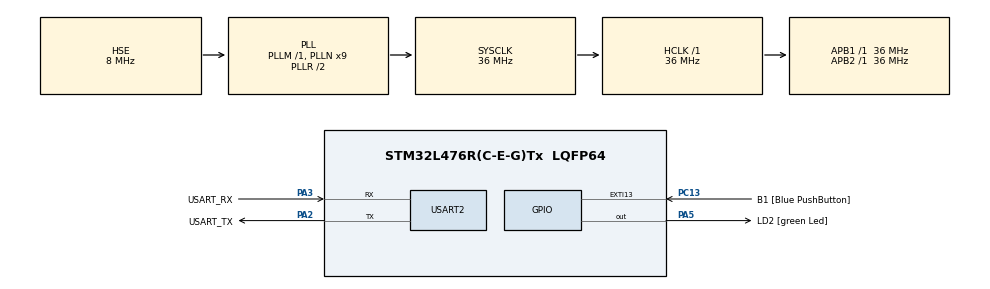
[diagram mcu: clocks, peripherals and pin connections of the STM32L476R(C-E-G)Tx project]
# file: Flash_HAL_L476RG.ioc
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Mcu.Family=STM32L4
Mcu.Name=STM32L476R(C-E-G)Tx
Mcu.Package=LQFP64
NVIC.PriorityGroup=NVIC_PRIORITYGROUP_4
PA13\ (JTMS-SWDIO).GPIO_Label=TMS
PA13\ (JTMS-SWDIO).Mode=Serial_Wire
PA13\ (JTMS-SWDIO).Signal=SYS_JTMS-SWDIO
PA14\ (JTCK-SWCLK).GPIO_Label=TCK
PA14\ (JTCK-SWCLK).Mode=Serial_Wire
PA14\ (JTCK-SWCLK).Signal=SYS_JTCK-SWCLK
PA2.GPIO_Label=USART_TX
PA2.GPIO_Mode=GPIO_MODE_AF_PP
PA2.GPIO_PuPd=GPIO_NOPULL
PA2.GPIO_Speed=GPIO_SPEED_FREQ_VERY_HIGH
PA2.Mode=Asynchronous
PA2.Signal=USART2_TX
PA3.GPIO_Label=USART_RX
PA3.GPIO_Mode=GPIO_MODE_AF_PP
PA3.GPIO_PuPd=GPIO_NOPULL
PA3.GPIO_Speed=GPIO_SPEED_FREQ_VERY_HIGH
PA3.Mode=Asynchronous
PA3.Signal=USART2_RX
PA5.GPIO_Label=LD2 [green Led]
PA5.GPIO_ModeDefaultOutputPP=GPIO_MODE_OUTPUT_PP
PA5.GPIO_PuPd=GPIO_NOPULL
PA5.GPIO_Speed=GPIO_SPEED_FREQ_LOW
PA5.Signal=GPIO_Output
PB3\ (JTDO-TRACESWO).GPIO_Label=SWO
PB3\ (JTDO-TRACESWO).Signal=SYS_JTDO-SWO
PC13.GPIO_Label=B1 [Blue PushButton]
PC13.GPIO_ModeDefaultEXTI=GPIO_MODE_IT_FALLING
PC13.GPIO_PuPd=GPIO_NOPULL
PC13.Signal=GPXTI13
PC14-OSC32_IN\ (PC14).Signal=RCC_OSC32_IN
PC15-OSC32_OUT\ (PC15).Signal=RCC_OSC32_OUT
PH0-OSC_IN\ (PH0).Mode=HSE-External-Oscillator
PH0-OSC_IN\ (PH0).Signal=RCC_OSC_IN
PH1-OSC_OUT\ (PH1).Mode=HSE-External-Oscillator
PH1-OSC_OUT\ (PH1).Signal=RCC_OSC_OUT
ProjectManager.HeapSize=0x200
ProjectManager.StackSize=0x400
ProjectManager.TargetToolchain=STM32CubeIDE
RCC.ADCFreq_Value=32000000
RCC.AHBFreq_Value=36000000
RCC.APB1Freq_Value=36000000
RCC.APB1TimFreq_Value=36000000
RCC.APB2Freq_Value=36000000
RCC.APB2TimFreq_Value=36000000
RCC.CortexFreq_Value=36000000
RCC.HCLKFreq_Value=36000000
RCC.HSE_VALUE=8000000
RCC.HSI_VALUE=16000000
RCC.MSI_VALUE=4000000
RCC.PLLN=9
RCC.PLLSourceVirtual=RCC_PLLSOURCE_HSE
RCC.PREFETCH_ENABLE=1
RCC.SYSCLKFreq_VALUE=36000000
RCC.SYSCLKSource=RCC_SYSCLKSOURCE_PLLCLK
RCC.USBFreq_Value=32000000
RCC.VCOOutputFreq_Value=72000000
USART2.VirtualMode-Asynchronous=VM_ASYNC
board=NUCLEO-L476RG

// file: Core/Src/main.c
/* USER CODE BEGIN Header */
/**
  ******************************************************************************
  * @file           : main.c
  * @brief          : Main program body
  ******************************************************************************
  * @attention
  *
  * <h2><center>&copy; Copyright (c) 2021 STMicroelectronics.
  * All rights reserved.</center></h2>
  *
  * This software component is licensed by ST under BSD 3-Clause license,
  * the "License"; You may not use this file except in compliance with the
  * License. You may obtain a copy of the License at:
  *                        opensource.org/licenses/BSD-3-Clause
  *
  ******************************************************************************
  */
/* USER CODE END Header */
#include "main.h"
#include "string.h"
//#include "UART.h"
//#include "stdlib.h"

/* USER CODE BEGIN PD */
#define FLASH_STORAGE 0x080FF800
#define page_size 0x800
/* USER CODE END PD */

volatile uint64_t data_to_FLASH;
volatile uint64_t data_length;
volatile uint16_t pages;

UART_HandleTypeDef huart2;

void SystemClock_Config(void);
static void MX_GPIO_Init(void);
static void MX_USART2_UART_Init(void);

/* USER CODE BEGIN 0 */

void save_to_flash(uint8_t *data)
{
	volatile uint64_t data_to_FLASH[(strlen((char*)data)/8)	+ (int)((strlen((char*)data) % 8) != 0)];
	memset((uint8_t*)data_to_FLASH, 0, strlen((char*)data_to_FLASH));
	strcpy((char*)data_to_FLASH, (char*)data);
	volatile uint64_t data_length = (strlen((char*)data_to_FLASH)/ 8) + (int)((strlen((char*)data_to_FLASH) % 8) != 0);
	pages = (strlen((char*)data)/page_size) + (int)((strlen((char*)data) % page_size) != 0);

	/* Unlock the Flash to enable the flash control register access *************/
	  HAL_FLASH_Unlock();

	  /* Allow Access to option bytes sector */
	  HAL_FLASH_OB_Unlock();

	  /* Fill EraseInit structure*/
	  FLASH_EraseInitTypeDef EraseInitStruct;
	  EraseInitStruct.TypeErase = FLASH_TYPEERASE_PAGES;
	  EraseInitStruct.Page = 0x1FF;
	  EraseInitStruct.Banks = FLASH_BANK_2;
	  EraseInitStruct.NbPages = pages;
	  uint32_t PageError;

	  volatile uint32_t write_cnt=0, index=0;

	  volatile HAL_StatusTypeDef status;
	  status = HAL_FLASHEx_Erase(&EraseInitStruct, &PageError);
	  while(index <= data_length)
	  {
		  if (status == HAL_OK)
		  {
			  status = HAL_FLASH_Program(FLASH_TYPEPROGRAM_DOUBLEWORD, FLASH_STORAGE+write_cnt, data_to_FLASH[index]); //_WORD  _FAST ( No interrupt)
			  if(status == HAL_OK)
			  {
				  write_cnt += 8;
				  index++;
			  }
		  }
	  }

	  HAL_FLASH_OB_Lock();
	  HAL_FLASH_Lock();
}

void read_flash(uint8_t* data)
{
	volatile uint32_t read_data;
	volatile uint32_t read_cnt=0;
	do
	{
		read_data = *(uint32_t*)(FLASH_STORAGE + read_cnt);
		if(read_data != 0xFFFFFFFF)
		{
			data[read_cnt] = (uint8_t)read_data;
			data[read_cnt + 1] = (uint8_t)(read_data >> 8);
			data[read_cnt + 2] = (uint8_t)(read_data >> 16);
			data[read_cnt + 3] = (uint8_t)(read_data >> 24);
			read_cnt += 4;
		}
	}while(read_data != 0xFFFFFFFF);
}
/* USER CODE END 0 */

int main(void)
{

  /* MCU Configuration--------------------------------------------------------*/

  /* Reset of all peripherals, Initializes the Flash interface and the Systick. */
  HAL_Init();

  /* Configure the system clock */
  SystemClock_Config();

  /* Initialize all configured peripherals */
  MX_GPIO_Init();
  //UART2_Init();
  MX_USART2_UART_Init();
  /* USER CODE BEGIN 2 */

  /*
  char write_data[16];
  memset(write_data, 0, sizeof(write_data));
  strcpy(write_data, "123 456 Hello I");
  char *write_data_p = write_data;
  save_to_flash((uint8_t*) write_data);

  char read_data[16];
  memset(read_data, 0, sizeof(read_data));
  read_flash((uint8_t*)read_data);
  */

  //Ecriture

  float SOC1=12.560;
  float VOL1=23.45;
  float CUR1=8.9;

  float SOC2=18.960;
  float VOL2=24.001;
  float CUR2=5.3;

  float * SOC1_p=&SOC1;
  float * VOL1_p=&VOL1;
  float * CUR1_p=&CUR1;
  save_to_flash((uint8_t*) SOC1_p);
  save_to_flash((uint8_t*) VOL1_p);
  save_to_flash((uint8_t*) CUR1_p);

  float * SOC2_p=&SOC2;
  float * VOL2_p=&VOL2;
  float * CUR2_p=&CUR2;
  save_to_flash((uint8_t*) SOC2_p);
  save_to_flash((uint8_t*) VOL2_p);
  save_to_flash((uint8_t*) CUR2_p);

 //Lecture
  float r_SOC1=0.0f;
  float r_VOL1=0.0f;
  float r_CUR1=0.0f;

  float r_SOC2=0.0f;
  float r_VOL2=0.0f;
  float r_CUR2=0.0f;

  float * r_SOC1_p=&r_SOC1;
  float * r_VOL1_p=&r_VOL1;
  float * r_CUR1_p=&r_CUR1;
  read_flash((uint8_t*)r_SOC1_p);
  read_flash((uint8_t*)r_VOL1_p);
  read_flash((uint8_t*)r_CUR1_p);

  float * r_SOC2_p=&r_SOC2;
  float * r_VOL2_p=&r_VOL2;
  float * r_CUR2_p=&r_CUR2;
  read_flash((uint8_t*)r_SOC2_p);
  read_flash((uint8_t*)r_VOL2_p);
  read_flash((uint8_t*)r_CUR2_p);

  int i=0;

  /* USER CODE END 2 */
  /* Infinite loop */
  while (1)
  {
	//USART_Write(USART2, (uint8_t *)read_data, strlen(read_data));
  }
}

void SystemClock_Config(void)
{
  RCC_OscInitTypeDef RCC_OscInitStruct = {0};
  RCC_ClkInitTypeDef RCC_ClkInitStruct = {0};
  RCC_PeriphCLKInitTypeDef PeriphClkInit = {0};

  /** Initializes the RCC Oscillators according to the specified parameters
  * in the RCC_OscInitTypeDef structure.
  */
  RCC_OscInitStruct.OscillatorType = RCC_OSCILLATORTYPE_HSE;
  RCC_OscInitStruct.HSEState = RCC_HSE_ON;
  RCC_OscInitStruct.PLL.PLLState = RCC_PLL_ON;
  RCC_OscInitStruct.PLL.PLLSource = RCC_PLLSOURCE_HSE;
  RCC_OscInitStruct.PLL.PLLM = 1;
  RCC_OscInitStruct.PLL.PLLN = 9;
  RCC_OscInitStruct.PLL.PLLP = RCC_PLLP_DIV7;
  RCC_OscInitStruct.PLL.PLLQ = RCC_PLLQ_DIV2;
  RCC_OscInitStruct.PLL.PLLR = RCC_PLLR_DIV2;
  if (HAL_RCC_OscConfig(&RCC_OscInitStruct) != HAL_OK)
  {
    Error_Handler();
  }
  /** Initializes the CPU, AHB and APB buses clocks
  */
  RCC_ClkInitStruct.ClockType = RCC_CLOCKTYPE_HCLK|RCC_CLOCKTYPE_SYSCLK
                              |RCC_CLOCKTYPE_PCLK1|RCC_CLOCKTYPE_PCLK2;
  RCC_ClkInitStruct.SYSCLKSource = RCC_SYSCLKSOURCE_PLLCLK;
  RCC_ClkInitStruct.AHBCLKDivider = RCC_SYSCLK_DIV1;
  RCC_ClkInitStruct.APB1CLKDivider = RCC_HCLK_DIV1;
  RCC_ClkInitStruct.APB2CLKDivider = RCC_HCLK_DIV1;

  if (HAL_RCC_ClockConfig(&RCC_ClkInitStruct, FLASH_LATENCY_2) != HAL_OK)
  {
    Error_Handler();
  }
  PeriphClkInit.PeriphClockSelection = RCC_PERIPHCLK_USART2;
  PeriphClkInit.Usart2ClockSelection = RCC_USART2CLKSOURCE_PCLK1;
  if (HAL_RCCEx_PeriphCLKConfig(&PeriphClkInit) != HAL_OK)
  {
    Error_Handler();
  }
  /** Configure the main internal regulator output voltage
  */
  if (HAL_PWREx_ControlVoltageScaling(PWR_REGULATOR_VOLTAGE_SCALE1) != HAL_OK)
  {
    Error_Handler();
  }
}

static void MX_USART2_UART_Init(void)
{

  huart2.Instance = USART2;
  huart2.Init.BaudRate = 115200;
  huart2.Init.WordLength = UART_WORDLENGTH_8B;
  huart2.Init.StopBits = UART_STOPBITS_1;
  huart2.Init.Parity = UART_PARITY_NONE;
  huart2.Init.Mode = UART_MODE_TX_RX;
  huart2.Init.HwFlowCtl = UART_HWCONTROL_NONE;
  huart2.Init.OverSampling = UART_OVERSAMPLING_16;
  huart2.Init.OneBitSampling = UART_ONE_BIT_SAMPLE_DISABLE;
  huart2.AdvancedInit.AdvFeatureInit = UART_ADVFEATURE_NO_INIT;
  if (HAL_UART_Init(&huart2) != HAL_OK)
  {
    Error_Handler();
  }

}

static void MX_GPIO_Init(void)
{
  GPIO_InitTypeDef GPIO_InitStruct = {0};

  /* GPIO Ports Clock Enable */
  __HAL_RCC_GPIOC_CLK_ENABLE();
  __HAL_RCC_GPIOH_CLK_ENABLE();
  __HAL_RCC_GPIOA_CLK_ENABLE();
  __HAL_RCC_GPIOB_CLK_ENABLE();

  /*Configure GPIO pin Output Level */
  HAL_GPIO_WritePin(LD2_GPIO_Port, LD2_Pin, GPIO_PIN_RESET);

  /*Configure GPIO pin : B1_Pin */
  GPIO_InitStruct.Pin = B1_Pin;
  GPIO_InitStruct.Mode = GPIO_MODE_IT_FALLING;
  GPIO_InitStruct.Pull = GPIO_NOPULL;
  HAL_GPIO_Init(B1_GPIO_Port, &GPIO_InitStruct);

  /*Configure GPIO pin : LD2_Pin */
  GPIO_InitStruct.Pin = LD2_Pin;
  GPIO_InitStruct.Mode = GPIO_MODE_OUTPUT_PP;
  GPIO_InitStruct.Pull = GPIO_NOPULL;
  GPIO_InitStruct.Speed = GPIO_SPEED_FREQ_LOW;
  HAL_GPIO_Init(LD2_GPIO_Port, &GPIO_InitStruct);

}

void Error_Handler(void)
{
}

/************************ (C) COPYRIGHT STMicroelectronics *****END OF FILE****/
